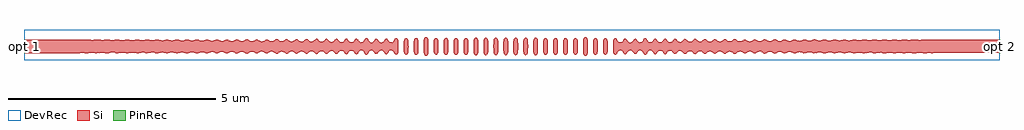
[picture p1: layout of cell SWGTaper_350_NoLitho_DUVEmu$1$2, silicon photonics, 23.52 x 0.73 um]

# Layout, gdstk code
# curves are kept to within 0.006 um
import gdstk
lib = gdstk.Library(unit=1e-6, precision=1e-09)
def P(c, l, *ps):  # polygons
    for p in ps: c.add(gdstk.Polygon(p, *l))
Si = (1, 0)
PinRec = (1, 10)
DevRec = (68, 0)

swgtaper_350_nolitho_duv = lib.new_cell('SWGTaper_350_NoLitho_DUVEmu$1$2')
P(swgtaper_350_nolitho_duv, Si, [(-25.034,-219.866),(-25.058,-219.855),(-25.098,-219.788),(-25.125,-219.768),(-25.153,-219.766),(-25.192,-219.776),(-25.246,-219.842),(-25.273,-219.851),(-25.294,-219.842),(-25.353,-219.771),(-25.403,-219.764),(-25.43,-219.772),(-25.485,-219.846),(-25.506,-219.855),(-25.538,-219.843),(-25.577,-219.786),(-25.604,-219.767),(-25.653,-219.767),(-25.683,-219.789),(-25.727,-219.859),(-25.751,-219.865),(-25.774,-219.856),(-25.802,-219.796),(-25.804,-219.553),(-25.786,-219.499),(-25.751,-219.475),(-25.719,-219.49),(-25.683,-219.552),(-25.656,-219.574),(-25.604,-219.574),(-25.577,-219.555),(-25.532,-219.492),(-25.507,-219.485),(-25.485,-219.494),(-25.437,-219.561),(-25.404,-219.576),(-25.352,-219.569),(-25.301,-219.506),(-25.273,-219.489),(-25.238,-219.505),(-25.204,-219.556),(-25.177,-219.574),(-25.126,-219.574),(-25.098,-219.553),(-25.056,-219.484),(-25.028,-219.474),(-25.006,-219.482),(-24.964,-219.549),(-24.927,-219.574),(-24.875,-219.568),(-24.817,-219.495),(-24.794,-219.484),(-24.761,-219.497),(-24.712,-219.562),(-24.65,-219.572),(-24.614,-219.55),(-24.57,-219.493),(-24.55,-219.486),(-24.522,-219.499),(-24.474,-219.557),(-24.448,-219.568),(-24.4,-219.565),(-24.315,-219.49),(-24.282,-219.502),(-24.247,-219.545),(-24.197,-219.563),(-24.148,-219.554),(-24.093,-219.498),(-24.071,-219.489),(-24.049,-219.496),(-24.009,-219.538),(-23.97,-219.558),(-23.922,-219.556),(-23.848,-219.493),(-23.826,-219.488),(-23.744,-219.55),(-23.697,-219.555),(-23.65,-219.536),(-23.592,-219.493),(-23.57,-219.499),(-23.516,-219.543),(-23.471,-219.554),(-23.423,-219.544),(-23.348,-219.497),(-23.265,-219.546),(-23.219,-219.552),(-23.184,-219.541),(-23.114,-219.495),(-23.091,-219.5),(-23.038,-219.539),(-23.004,-219.549),(-22.946,-219.54),(-22.891,-219.5),(-22.869,-219.494),(-22.767,-219.549),(-22.72,-219.548),(-22.624,-219.503),(-22.559,-219.539),(-22.515,-219.551),(-22.469,-219.543),(-22.39,-219.502),(-22.309,-219.542),(-22.253,-219.547),(-22.145,-219.499),(-22.038,-219.544),(-21.992,-219.539),(-21.911,-219.5),(-21.831,-219.536),(-21.788,-219.544),(-21.666,-219.504),(-21.56,-219.541),(-21.516,-219.538),(-21.433,-219.506),(-21.31,-219.539),(-21.2,-219.505),(-21.06,-219.535),(-20.954,-219.502),(-20.834,-219.532),(-20.701,-219.505),(-20.604,-219.53),(-20.476,-219.509),(-20.334,-219.529),(-20.245,-219.51),(-20.095,-219.527),(-19.998,-219.509),(-19.856,-219.524),(-19.767,-219.507),(-19.648,-219.522),(-19.504,-219.509),(-19.37,-219.521),(-19.273,-219.51),(-19.15,-219.52),(-19.026,-219.51),(-18.901,-219.518),(-18.812,-219.51),(-18.653,-219.516),(-18.548,-219.509),(-18.406,-219.515),(-16.49,-219.508),(-16.49,-219.832),(-18.406,-219.825),(-18.548,-219.831),(-18.653,-219.824),(-18.812,-219.83),(-18.901,-219.822),(-19.026,-219.83),(-19.15,-219.82),(-19.282,-219.83),(-19.379,-219.819),(-19.529,-219.831),(-19.646,-219.818),(-19.767,-219.833),(-19.856,-219.816),(-19.998,-219.831),(-20.105,-219.813),(-20.245,-219.829),(-20.334,-219.811),(-20.476,-219.831),(-20.604,-219.81),(-20.715,-219.835),(-20.833,-219.808),(-20.954,-219.838),(-21.06,-219.805),(-21.193,-219.836),(-21.31,-219.801),(-21.433,-219.834),(-21.516,-219.802),(-21.56,-219.799),(-21.672,-219.836),(-21.754,-219.801),(-21.788,-219.796),(-21.831,-219.804),(-21.911,-219.84),(-21.992,-219.801),(-22.038,-219.796),(-22.151,-219.841),(-22.241,-219.796),(-22.298,-219.795),(-22.39,-219.838),(-22.469,-219.797),(-22.515,-219.789),(-22.559,-219.8),(-22.635,-219.837),(-22.72,-219.792),(-22.766,-219.792),(-22.869,-219.847),(-22.969,-219.792),(-23.026,-219.797),(-23.091,-219.84),(-23.114,-219.845),(-23.173,-219.804),(-23.219,-219.788),(-23.265,-219.793),(-23.348,-219.842),(-23.366,-219.839),(-23.423,-219.796),(-23.471,-219.786),(-23.516,-219.797),(-23.57,-219.841),(-23.592,-219.847),(-23.65,-219.804),(-23.696,-219.784),(-23.744,-219.79),(-23.826,-219.852),(-23.855,-219.842),(-23.898,-219.797),(-23.947,-219.782),(-23.995,-219.792),(-24.045,-219.841),(-24.071,-219.851),(-24.093,-219.842),(-24.149,-219.785),(-24.173,-219.776),(-24.222,-219.779),(-24.286,-219.842),(-24.315,-219.85),(-24.333,-219.842),(-24.399,-219.775),(-24.448,-219.772),(-24.482,-219.789),(-24.528,-219.846),(-24.55,-219.853),(-24.571,-219.847),(-24.623,-219.782),(-24.674,-219.769),(-24.714,-219.781),(-24.761,-219.843),(-24.794,-219.856),(-24.817,-219.845),(-24.876,-219.771),(-24.91,-219.766),(-24.955,-219.781),(-25,-219.852)],
  [(-31.753,-219.866),(-31.775,-219.858),(-31.829,-219.778),(-31.871,-219.766),(-31.909,-219.774),(-31.962,-219.843),(-31.987,-219.856),(-32.018,-219.843),(-32.056,-219.789),(-32.096,-219.769),(-32.146,-219.776),(-32.204,-219.842),(-32.232,-219.853),(-32.256,-219.842),(-32.297,-219.789),(-32.334,-219.772),(-32.384,-219.777),(-32.409,-219.794),(-32.443,-219.839),(-32.466,-219.85),(-32.494,-219.841),(-32.545,-219.787),(-32.585,-219.777),(-32.634,-219.787),(-32.689,-219.844),(-32.711,-219.851),(-32.732,-219.844),(-32.788,-219.79),(-32.812,-219.781),(-32.86,-219.786),(-32.885,-219.799),(-32.925,-219.842),(-32.956,-219.852),(-33.015,-219.802),(-33.062,-219.785),(-33.11,-219.792),(-33.189,-219.847),(-33.211,-219.84),(-33.266,-219.796),(-33.314,-219.786),(-33.359,-219.797),(-33.423,-219.842),(-33.445,-219.839),(-33.517,-219.792),(-33.564,-219.789),(-33.587,-219.794),(-33.668,-219.845),(-33.768,-219.792),(-33.825,-219.797),(-33.89,-219.841),(-33.912,-219.846),(-34.017,-219.791),(-34.063,-219.793),(-34.147,-219.837),(-34.223,-219.799),(-34.269,-219.789),(-34.313,-219.798),(-34.391,-219.838),(-34.473,-219.798),(-34.53,-219.794),(-34.626,-219.841),(-34.701,-219.806),(-34.746,-219.796),(-34.79,-219.802),(-34.87,-219.84),(-34.951,-219.804),(-34.995,-219.796),(-35.104,-219.836),(-35.224,-219.798),(-35.266,-219.803),(-35.349,-219.834),(-35.473,-219.801),(-35.582,-219.835),(-35.702,-219.805),(-35.754,-219.812),(-35.827,-219.837),(-35.95,-219.808),(-36.06,-219.835),(-36.178,-219.81),(-36.305,-219.832),(-36.427,-219.811),(-36.537,-219.829),(-36.677,-219.813),(-36.783,-219.831),(-36.906,-219.816),(-37.016,-219.833),(-37.134,-219.818),(-37.261,-219.831),(-37.413,-219.819),(-37.509,-219.83),(-37.632,-219.82),(-37.756,-219.83),(-37.89,-219.822),(-37.97,-219.83),(-38.129,-219.824),(-38.234,-219.831),(-38.377,-219.825),(-39.99,-219.832),(-39.99,-219.508),(-38.377,-219.515),(-38.234,-219.509),(-38.129,-219.516),(-37.97,-219.51),(-37.881,-219.518),(-37.756,-219.51),(-37.632,-219.52),(-37.508,-219.51),(-37.403,-219.521),(-37.261,-219.509),(-37.134,-219.522),(-37.016,-219.507),(-36.926,-219.524),(-36.784,-219.509),(-36.677,-219.527),(-36.538,-219.51),(-36.448,-219.529),(-36.305,-219.508),(-36.178,-219.53),(-36.073,-219.505),(-35.949,-219.532),(-35.827,-219.503),(-35.744,-219.531),(-35.702,-219.535),(-35.582,-219.505),(-35.473,-219.539),(-35.349,-219.506),(-35.266,-219.537),(-35.224,-219.542),(-35.104,-219.505),(-34.995,-219.544),(-34.962,-219.54),(-34.87,-219.5),(-34.79,-219.538),(-34.746,-219.544),(-34.701,-219.534),(-34.626,-219.499),(-34.518,-219.548),(-34.473,-219.542),(-34.391,-219.502),(-34.313,-219.542),(-34.269,-219.551),(-34.223,-219.542),(-34.17,-219.508),(-34.147,-219.503),(-34.063,-219.547),(-34.013,-219.549),(-33.912,-219.494),(-33.89,-219.5),(-33.837,-219.539),(-33.774,-219.549),(-33.668,-219.495),(-33.609,-219.534),(-33.564,-219.551),(-33.508,-219.544),(-33.445,-219.501),(-33.423,-219.498),(-33.359,-219.542),(-33.314,-219.554),(-33.266,-219.544),(-33.189,-219.493),(-33.111,-219.547),(-33.063,-219.555),(-33.015,-219.538),(-32.969,-219.493),(-32.945,-219.488),(-32.878,-219.546),(-32.812,-219.559),(-32.78,-219.546),(-32.743,-219.506),(-32.711,-219.489),(-32.689,-219.496),(-32.635,-219.552),(-32.61,-219.563),(-32.574,-219.563),(-32.533,-219.544),(-32.487,-219.494),(-32.466,-219.49),(-32.443,-219.501),(-32.384,-219.563),(-32.334,-219.569),(-32.288,-219.542),(-32.25,-219.493),(-32.226,-219.487),(-32.198,-219.505),(-32.159,-219.557),(-32.133,-219.571),(-32.083,-219.571),(-32.056,-219.553),(-32.02,-219.499),(-31.987,-219.484),(-31.955,-219.504),(-31.914,-219.562),(-31.884,-219.575),(-31.829,-219.563),(-31.775,-219.483),(-31.747,-219.474),(-31.72,-219.489),(-31.685,-219.549),(-31.658,-219.571),(-31.606,-219.575),(-31.579,-219.559),(-31.537,-219.501),(-31.508,-219.489),(-31.486,-219.498),(-31.437,-219.561),(-31.393,-219.577),(-31.342,-219.561),(-31.296,-219.495),(-31.274,-219.485),(-31.248,-219.492),(-31.196,-219.561),(-31.179,-219.571),(-31.127,-219.575),(-31.099,-219.554),(-31.063,-219.492),(-31.03,-219.475),(-30.995,-219.497),(-30.977,-219.546),(-30.977,-219.787),(-30.982,-219.818),(-31.007,-219.857),(-31.03,-219.865),(-31.053,-219.859),(-31.094,-219.793),(-31.124,-219.768),(-31.176,-219.767),(-31.206,-219.789),(-31.242,-219.843),(-31.274,-219.855),(-31.297,-219.843),(-31.354,-219.771),(-31.417,-219.768),(-31.452,-219.792),(-31.486,-219.842),(-31.514,-219.851),(-31.542,-219.834),(-31.579,-219.782),(-31.619,-219.765),(-31.651,-219.767),(-31.671,-219.779),(-31.727,-219.859)],
  [(-30.795,-219.865),(-30.831,-219.834),(-30.845,-219.787),(-30.845,-219.554),(-30.819,-219.489),(-30.785,-219.476),(-30.749,-219.506),(-30.736,-219.546),(-30.735,-219.787),(-30.757,-219.845),(-30.769,-219.859)],
  [(-30.551,-219.87),(-30.574,-219.86),(-30.599,-219.819),(-30.606,-219.683),(-30.599,-219.52),(-30.582,-219.488),(-30.551,-219.47),(-30.529,-219.477),(-30.503,-219.515),(-30.494,-219.614),(-30.501,-219.819),(-30.525,-219.86)],
  [(-30.317,-219.893),(-30.343,-219.874),(-30.363,-219.822),(-30.365,-219.528),(-30.345,-219.468),(-30.327,-219.451),(-30.306,-219.447),(-30.275,-219.468),(-30.256,-219.521),(-30.256,-219.819),(-30.281,-219.88)],
  [(-30.072,-219.869),(-30.093,-219.86),(-30.114,-219.832),(-30.126,-219.719),(-30.12,-219.526),(-30.101,-219.489),(-30.072,-219.471),(-30.039,-219.489),(-30.019,-219.531),(-30.014,-219.65),(-30.018,-219.803),(-30.047,-219.86)],
  [(-29.83,-219.873),(-29.86,-219.858),(-29.88,-219.819),(-29.886,-219.641),(-29.878,-219.515),(-29.852,-219.474),(-29.827,-219.466),(-29.792,-219.492),(-29.778,-219.529),(-29.774,-219.701),(-29.784,-219.833),(-29.803,-219.861)],
  [(-29.593,-219.872),(-29.616,-219.861),(-29.64,-219.819),(-29.646,-219.641),(-29.638,-219.516),(-29.61,-219.474),(-29.588,-219.468),(-29.56,-219.484),(-29.538,-219.531),(-29.534,-219.701),(-29.54,-219.818),(-29.564,-219.861)],
  [(-29.348,-219.871),(-29.375,-219.86),(-29.4,-219.819),(-29.406,-219.701),(-29.4,-219.523),(-29.376,-219.481),(-29.348,-219.469),(-29.327,-219.478),(-29.302,-219.515),(-29.294,-219.632),(-29.297,-219.804),(-29.313,-219.847)],
  [(-29.114,-219.88),(-29.142,-219.863),(-29.164,-219.808),(-29.164,-219.532),(-29.136,-219.47),(-29.103,-219.46),(-29.072,-219.486),(-29.056,-219.529),(-29.055,-219.805),(-29.081,-219.867)],
  [(-28.869,-219.878),(-28.9,-219.862),(-28.921,-219.82),(-28.926,-219.701),(-28.919,-219.514),(-28.903,-219.481),(-28.869,-219.462),(-28.845,-219.473),(-28.821,-219.512),(-28.814,-219.632),(-28.816,-219.805),(-28.84,-219.862)],
  [(-28.635,-219.877),(-28.671,-219.847),(-28.684,-219.805),(-28.685,-219.552),(-28.666,-219.486),(-28.646,-219.466),(-28.625,-219.463),(-28.598,-219.48),(-28.577,-219.529),(-28.575,-219.773),(-28.589,-219.847),(-28.615,-219.875)],
  [(-28.391,-219.878),(-28.42,-219.862),(-28.439,-219.828),(-28.446,-219.701),(-28.439,-219.513),(-28.415,-219.473),(-28.391,-219.462),(-28.365,-219.473),(-28.343,-219.507),(-28.334,-219.632),(-28.336,-219.804),(-28.357,-219.858)],
  [(-28.157,-219.877),(-28.19,-219.848),(-28.204,-219.805),(-28.205,-219.552),(-28.186,-219.486),(-28.167,-219.466),(-28.146,-219.463),(-28.114,-219.486),(-28.096,-219.535),(-28.096,-219.806),(-28.124,-219.867)],
  [(-27.912,-219.878),(-27.934,-219.869),(-27.959,-219.827),(-27.966,-219.701),(-27.963,-219.529),(-27.941,-219.479),(-27.912,-219.462),(-27.885,-219.473),(-27.866,-219.5),(-27.857,-219.53),(-27.854,-219.632),(-27.857,-219.812),(-27.88,-219.862)],
  [(-27.672,-219.88),(-27.688,-219.876),(-27.711,-219.849),(-27.724,-219.805),(-27.725,-219.552),(-27.708,-219.486),(-27.689,-219.465),(-27.664,-219.46),(-27.633,-219.485),(-27.618,-219.521),(-27.614,-219.701),(-27.623,-219.834),(-27.638,-219.863)],
  [(-27.433,-219.871),(-27.455,-219.86),(-27.48,-219.819),(-27.486,-219.632),(-27.478,-219.516),(-27.455,-219.48),(-27.428,-219.469),(-27.393,-219.494),(-27.375,-219.545),(-27.374,-219.701),(-27.38,-219.818),(-27.4,-219.855)],
  [(-27.188,-219.872),(-27.216,-219.861),(-27.235,-219.833),(-27.246,-219.701),(-27.241,-219.523),(-27.217,-219.481),(-27.188,-219.468),(-27.167,-219.477),(-27.142,-219.515),(-27.134,-219.65),(-27.14,-219.817),(-27.164,-219.861)],
  [(-26.957,-219.873),(-26.989,-219.845),(-27.004,-219.801),(-27.005,-219.545),(-26.977,-219.478),(-26.943,-219.467),(-26.916,-219.487),(-26.895,-219.545),(-26.895,-219.772),(-26.912,-219.848),(-26.933,-219.869)],
  [(-26.709,-219.869),(-26.733,-219.86),(-26.759,-219.818),(-26.766,-219.701),(-26.761,-219.531),(-26.741,-219.488),(-26.709,-219.471),(-26.675,-219.493),(-26.661,-219.52),(-26.654,-219.614),(-26.661,-219.82),(-26.68,-219.853)],
  [(-26.476,-219.893),(-26.504,-219.873),(-26.523,-219.822),(-26.525,-219.528),(-26.498,-219.458),(-26.465,-219.447),(-26.435,-219.468),(-26.418,-219.512),(-26.415,-219.789),(-26.42,-219.836),(-26.436,-219.873),(-26.454,-219.89)],
  [(-26.231,-219.87),(-26.255,-219.86),(-26.28,-219.819),(-26.286,-219.718),(-26.278,-219.515),(-26.263,-219.488),(-26.231,-219.47),(-26.197,-219.489),(-26.183,-219.516),(-26.174,-219.65),(-26.181,-219.818),(-26.205,-219.86)],
  [(-25.991,-219.865),(-26.011,-219.859),(-26.028,-219.838),(-26.045,-219.787),(-26.045,-219.554),(-26.029,-219.502),(-26.008,-219.48),(-25.986,-219.475),(-25.951,-219.503),(-25.936,-219.546),(-25.935,-219.788),(-25.957,-219.845)])
P(swgtaper_350_nolitho_duv, DevRec, [(-39.99,-220),(-39.99,-219.27),(-16.49,-219.27),(-16.49,-220),(-30.17,-220)])
swgtaper_350_nolitho_duv.add(gdstk.FlexPath([(-39.98,-219.67),(-40,-219.67)], 0.324, ends="flush", simple_path=True, layer=1, datatype=10))  # PinRec
swgtaper_350_nolitho_duv.add(gdstk.FlexPath([(-16.5,-219.67),(-16.48,-219.67)], 0.324, ends="flush", simple_path=True, layer=1, datatype=10))  # PinRec
swgtaper_350_nolitho_duv.add(gdstk.Label('opt 1', (-39.99,-219.67), layer=1, texttype=10))
swgtaper_350_nolitho_duv.add(gdstk.Label('opt 2', (-16.49,-219.67), layer=1, texttype=10))
swgtaper_350_nolitho_duv.add(gdstk.Label('opt 2', (-16.49,-219.67), layer=1, texttype=10))

lib.write_gds('SWGTaper_350_NoLitho_DUVEmu_1_2.gds')
